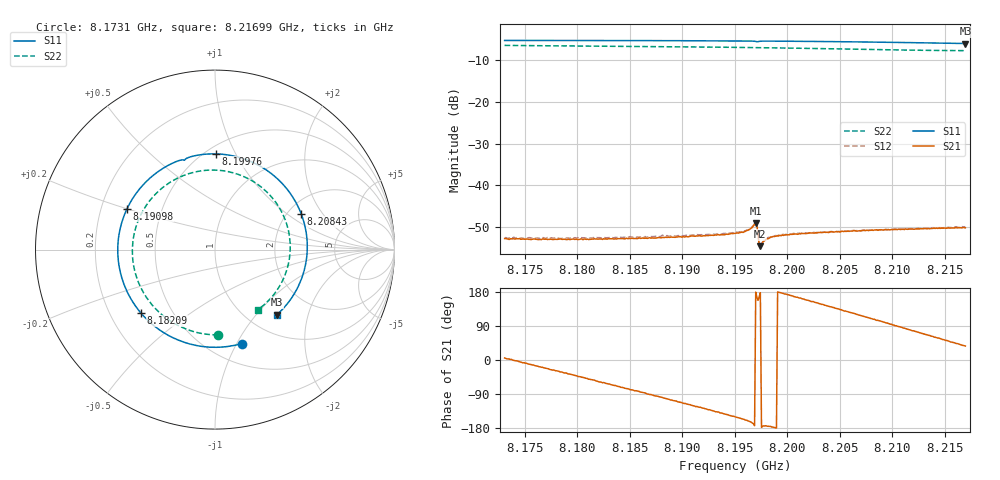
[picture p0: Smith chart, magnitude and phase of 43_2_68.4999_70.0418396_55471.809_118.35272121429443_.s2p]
#  HZ  S  RI  R  50.00
! Rohde & Schwarz Vector Network Analyzer
! Rohde-Schwarz,ZNB20-2Port,1311601062101988,3.16
! Created: UTC 3/20/2024, 5:05:40 PM
! freq[Hz]  re:S11  im:S11  re:S21  im:S21  re:S12  im:S12  re:S22  im:S22
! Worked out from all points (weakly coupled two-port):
!   401 points, 8.1731 GHz to 8.21699 GHz, reference 50 ohm
!   highest |S21| = -49.07 dB at 8.19702 GHz (marker M1); lowest = -54.6 dB at 8.19746 GHz (marker M2)
!   lowest |S11| = -6.0 dB at 8.21699 GHz (marker M3), VSWR 3.00, Z = 66.7 - j64.7 ohm
!   |S11| at or under -10 dB: nowhere
!   |S22| runs from -7.7 to -6.5 dB; largest |S21 - S12| = 0.00018
!   S11 on the Smith chart (normalised r, x): 8.1731 GHz: 0.70, -1.05; 8.18209 GHz: 0.33, -0.33; 8.19098 GHz: 0.31, +0.20; 8.19976 GHz: 0.56, +0.84; 8.20843 GHz: 2.36, +1.28; 8.21699 GHz: 1.33, -1.29
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8.173095e9  0.1477 -0.5241  0.00228 0.00021  0.00233 0.000213  0.0166 -0.475
8.176716e9  -0.0979 -0.5355  0.00215 -0.000751  0.0022 -0.000809  -0.1838 -0.4333
8.180447e9  -0.3306 -0.4317  0.00159 -0.00162  0.00165 -0.00167  -0.3507 -0.3081
8.182093e9  -0.4129 -0.3531  0.00121 -0.00192  0.00126 -0.00199  -0.4027 -0.2321
8.185056e9  -0.5136 -0.1749  0.000464 -0.00224  0.000495 -0.00236  -0.4554 -0.0766
8.187799e9  -0.5416 0.0136  -0.000286 -0.00234  -0.000366 -0.00239  -0.4528 0.0753
8.190981e9  -0.4896 0.2286  -0.00123 -0.00213  -0.00132 -0.00217  -0.3878 0.2388
8.195041e9  -0.3055 0.4426  -0.00229 -0.00133  -0.00238 -0.00128  -0.2227 0.3907
8.196249e9  -0.2306 0.4843  -0.00271 -0.000966  -0.00276 -0.000889  -0.1607 0.4182
8.196907e9  -0.184 0.4998  -0.00338 -0.000398  -0.00346 -0.00031  -0.1254 0.429
8.197017e9  -0.1759 0.4998  -0.00352 5.99e-05  -0.00359 0.000202  -0.1192 0.4303
8.197456e9  -0.1568 0.5094  -0.00186 7.74e-05  -0.0019 0.000158  -0.0954 0.4357
8.197565e9  -0.1489 0.5128  -0.00193 -7.99e-05  -0.00198 -4.16e-06  -0.0892 0.4368
8.198004e9  -0.1176 0.5218  -0.00221 -0.000253  -0.00226 -0.000155  -0.0646 0.4404
8.198553e9  -0.0787 0.5287  -0.00238 -0.000127  -0.00241 -2.74e-05  -0.0335 0.4429
8.19976e9  0.00684 0.5333  -0.00252 0.000266  -0.00251 0.000353  0.035 0.4405
8.202394e9  0.1884 0.4955  -0.00241 0.00117  -0.00235 0.00126  0.1788 0.3984
8.205247e9  0.3567 0.3861  -0.00187 0.00211  -0.00183 0.00218  0.3101 0.2989
8.208429e9  0.4806 0.1987  -0.000808 0.00279  -0.000713 0.00281  0.4014 0.136
8.209746e9  0.5058 0.1083  -0.000277 0.0029  -0.000225 0.00294  0.417 0.0583
8.213257e9  0.4898 -0.1403  0.00118 0.00278  0.00121 0.00278  0.3855 -0.1527
8.216988e9  0.3445 -0.3631  0.00246 0.00185  0.00261 0.00183  0.239 -0.3345
